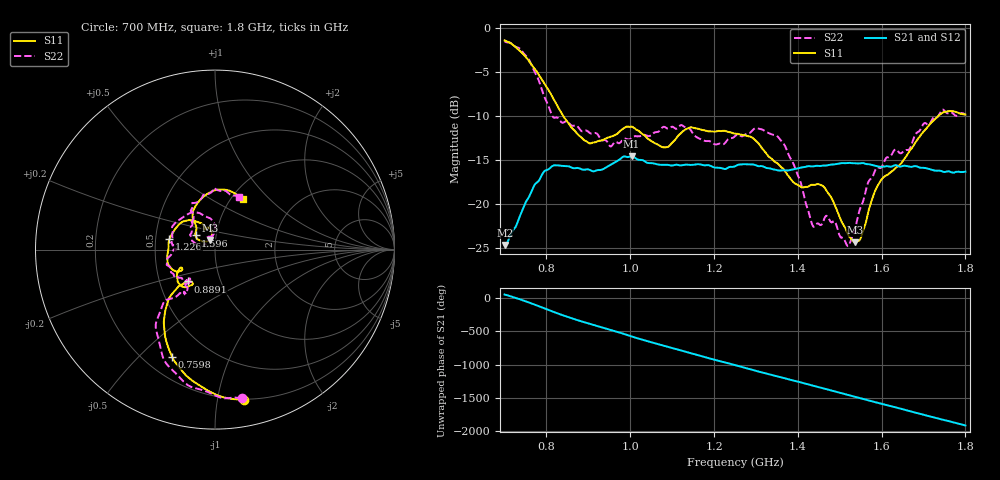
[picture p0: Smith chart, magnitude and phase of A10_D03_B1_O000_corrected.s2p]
! Created with skrf 1.9.0 (http://scikit-rf.org).
# Hz S RI R 50.0
!freq ReS11 ImS11 ReS21 ImS21 ReS12 ImS12 ReS22 ImS22
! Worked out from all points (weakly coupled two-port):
!   1601 points, 700 MHz to 1.8 GHz, reference 50 ohm
!   highest |S21| = -14.54 dB at 1.003 GHz (marker M1); lowest = -24.6 dB at 700.7 MHz (marker M2)
!   lowest |S11| = -24.3 dB at 1.537 GHz (marker M3), VSWR 1.13, Z = 47 + j5.07 ohm
!   |S11| at or under -10 dB: 840.2 MHz to 1.734 GHz (894.2 MHz wide, 69.5 % of centre)
!   |S22| runs from -24.8 to -1.5 dB; largest |S21 - S12| = 0.0035
!   S11 on the Smith chart (normalised r, x): 700 MHz: 0.20, -1.19; 759.8 MHz: 0.31, -0.63; 889.1 MHz: 0.70, -0.26; 1.226 GHz: 0.59, +0.07; 1.596 GHz: 0.80, +0.13; 1.8 GHz: 1.12, +0.71
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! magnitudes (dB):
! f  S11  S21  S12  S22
! 700 MHz  -1.4  -24.6  -24.4  -1.5
! 700.7 MHz  -1.4  -24.6  -24.3  -1.5
! 759.8 MHz  -3.8  -19.0  -18.9  -3.7
! 814.8 MHz  -7.9  -15.6  -15.7  -10.1
! 883.6 MHz  -12.4  -16.0  -15.9  -11.7
! 889.1 MHz  -12.7  -16.1  -16.0  -11.7
! 1.003 GHz  -11.2  -14.5  -14.7  -12.5
! 1.067 GHz  -13.3  -15.5  -15.4  -11.8
! 1.142 GHz  -11.3  -15.5  -15.5  -11.4
! 1.226 GHz  -11.7  -16.0  -15.9  -13.1
! 1.25 GHz  -12.0  -15.7  -15.6  -12.3
! 1.355 GHz  -15.5  -16.2  -16.1  -12.5
! 1.402 GHz  -17.9  -15.9  -15.9  -16.9
! 1.434 GHz  -17.8  -15.7  -15.7  -22.2
! 1.47 GHz  -18.6  -15.6  -15.6  -21.4
! 1.519 GHz  -23.4  -15.3  -15.3  -24.7
! 1.537 GHz  -24.3  -15.3  -15.3  -22.8
! 1.568 GHz  -21.0  -15.4  -15.5  -17.5
! 1.596 GHz  -17.5  -15.7  -15.7  -15.9
! 1.617 GHz  -16.6  -15.7  -15.7  -14.7
! 1.738 GHz  -9.9  -16.2  -16.2  -9.7
! 1.8 GHz  -9.8  -16.3  -16.3  -9.8
